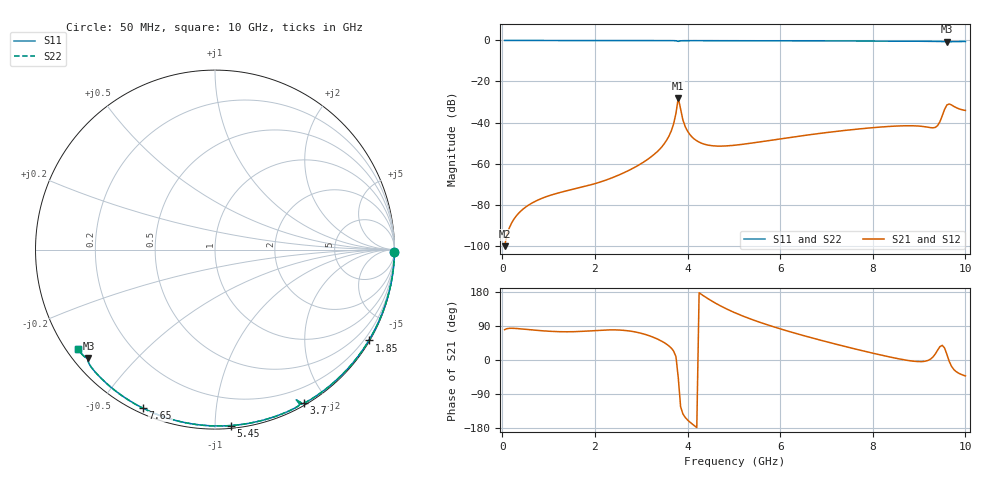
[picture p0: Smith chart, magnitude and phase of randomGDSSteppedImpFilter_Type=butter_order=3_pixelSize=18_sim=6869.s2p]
! freq	dB(S11)	phase(S11)	dB(S12)	phase(S12)
!  dB(S21)	phase(S21)	dB(S22)	phase(S22)
!S-par simulation data
#  GHz  S  DB  R 50
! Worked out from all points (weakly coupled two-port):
!   200 points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, 50 MHz to 10 GHz, reference 50 ohm
!   highest |S21| = -28.02 dB at 3.8 GHz (marker M1); lowest = -100.3 dB at 50 MHz (marker M2)
!   lowest |S11| = -0.6 dB at 9.6 GHz (marker M3), VSWR 27.24, Z = 2.09 - j18.5 ohm
!   |S11| at or under -10 dB: nowhere
!   |S22| runs from -0.6 to 0.0 dB; largest |S21 - S12| = 0
!   S11 on the Smith chart (normalised r, x): 50 MHz: open; 1.85 GHz: 0.03, -3.66; 3.7 GHz: 0.02, -1.73; 5.45 GHz: 0.02, -1.09; 7.65 GHz: 0.02, -0.64; 10 GHz: 0.03, -0.32
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0.05  -0.00 -0.8  -100.28 80.1  -100.28 80.1  -0.00 -0.8
0.6  -0.01 -10.0  -79.79 79.9  -79.79 79.9  -0.01 -10.0
1.75  -0.04 -28.9  -71.33 75.8  -71.33 75.8  -0.04 -28.9
1.85  -0.04 -30.5  -70.75 76.5  -70.75 76.5  -0.04 -30.5
2.75  -0.06 -44.9  -63.14 76.5  -63.14 76.5  -0.06 -44.9
3.4  -0.07 -55.1  -53.00 52.3  -53.00 52.3  -0.07 -55.1
3.6  -0.08 -58.3  -46.57 36.9  -46.57 36.9  -0.08 -58.2
3.7  -0.10 -60.0  -40.64 23.5  -40.64 23.5  -0.10 -60.0
3.8  -0.44 -61.6  -28.02 -46.5  -28.02 -46.5  -0.44 -61.6
3.9  -0.11 -61.8  -38.74 -142.2  -38.74 -142.2  -0.11 -61.8
3.95  -0.10 -62.8  -42.00 -151.5  -42.00 -151.5  -0.10 -62.8
4.15  -0.10 -66.0  -48.14 -173.7  -48.14 -173.7  -0.10 -66.0
4.5  -0.10 -71.2  -51.23 157.4  -51.23 157.4  -0.10 -71.2
5.05  -0.12 -79.2  -50.99 123.3  -50.99 123.3  -0.12 -79.2
5.45  -0.14 -84.9  -49.82 104.3  -49.82 104.3  -0.14 -84.9
6.7  -0.20 -102.0  -45.76 57.9  -45.76 57.9  -0.20 -102.0
7.65  -0.26 -114.5  -43.25 28.2  -43.25 28.2  -0.26 -114.5
8.35  -0.32 -123.5  -41.92 8.4  -41.92 8.4  -0.32 -123.5
9.35  -0.44 -136.6  -42.38 15.9  -42.38 15.9  -0.44 -136.6
9.45  -0.49 -138.1  -39.61 35.3  -39.61 35.3  -0.49 -138.0
9.6  -0.64 -139.4  -31.46 15.1  -31.46 15.1  -0.63 -139.4
10  -0.51 -144.1  -34.12 -42.0  -34.12 -42.0  -0.51 -144.1
